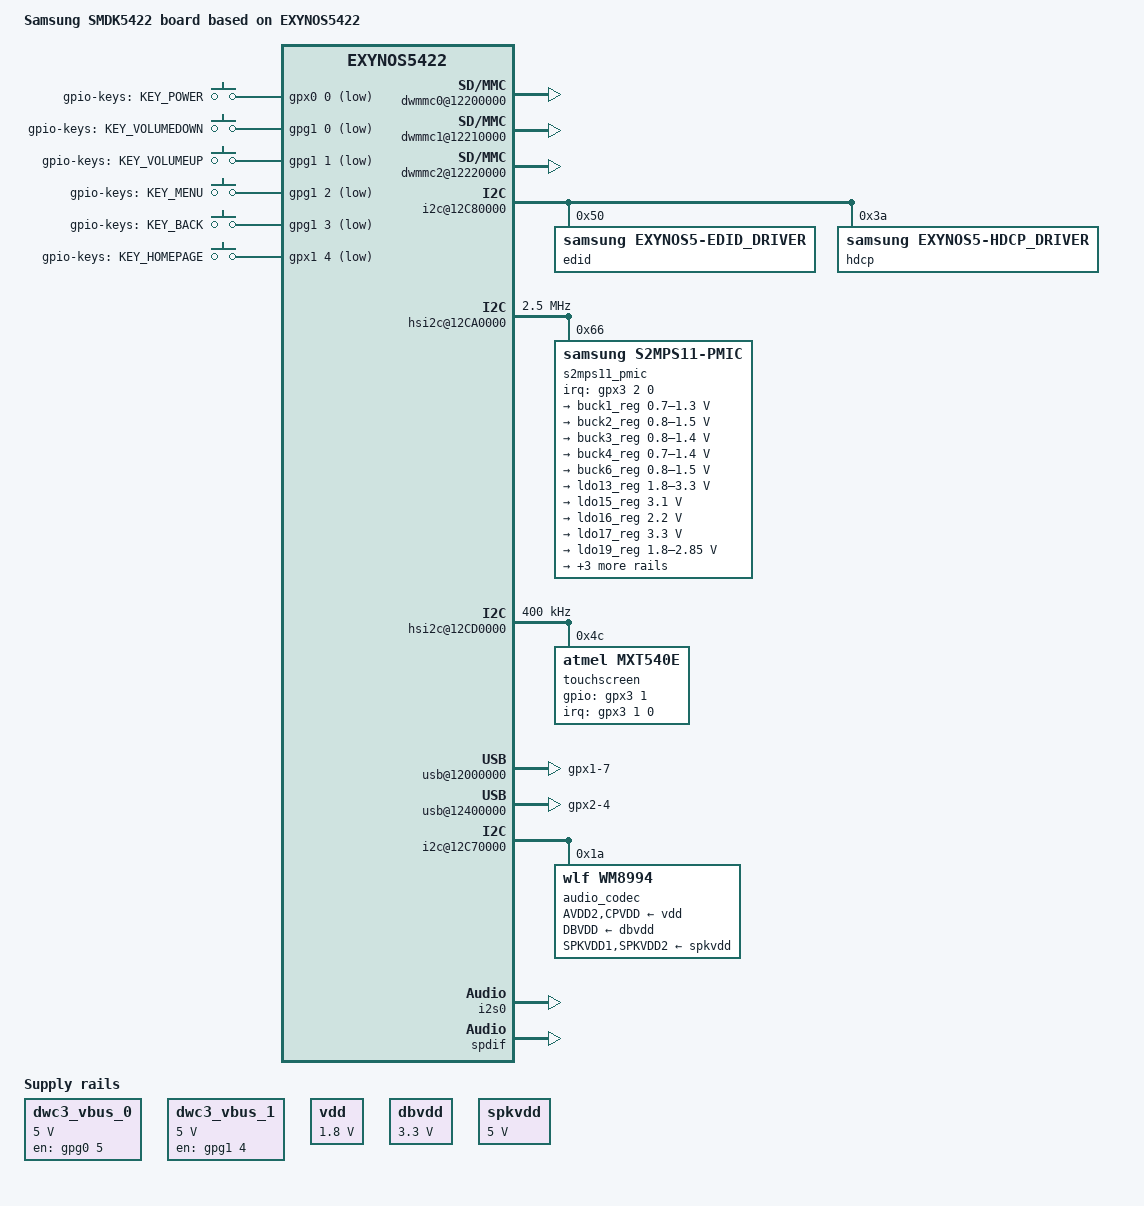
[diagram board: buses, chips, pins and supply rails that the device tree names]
/*
 * SAMSUNG SMDK5422 board device tree source
 *
 * Copyright (c) 2013 Samsung Electronics Co., Ltd.
 *             http://www.samsung.com
 *
 * This program is free software; you can redistribute it and/or modify
 * it under the terms of the GNU General Public License version 2 as
 * published by the Free Software Foundation.
*/

/dts-v1/;
#include "exynos5422.dtsi"

/ {
	model = "Samsung SMDK5422 board based on EXYNOS5422";
	compatible = "samsung,SMDK5422", "samsung,exynos5422";

	chosen {
		bootargs = "console=ttySAC2,115200 vmalloc=512M ess_setup=0x26000000 noexec=on";
	};

	fixed-rate-clocks {
		oscclk {
			compatible = "samsung,exynos5422-oscclk";
			clock-frequency = <24000000>;
		};
	};
/*disp_driver {*/
	fimd_fb: fimd_fb {
		gpios = <&gpd1 7 0xf>;
		fimd: fimd_ctrl {
			samsung,left_margin = <0x18>;
			samsung,right_margin = <0x18>;
			samsung,upper_margin = <1>;
			samsung,lower_margin = <0xD>;
			samsung,hsync_len = <0x2>;
			samsung,vsync_len = <0x2>;
			samsung,xres = <800>;
			samsung,yres = <1280>;
			samsung,virtual_x = <800>;
			samsung,virtual_y = <2560>;
			samsung,width = <71>;
			samsung,height = <114>;
			samsung,max_bpp = <32>;
			samsung,default_bpp = <24>;

			fb_driver_data {
				fb_win_variant_0 {
					has_osd_c = <1>;
					has_osd_d = <0>;
					has_osd_alpha = <0>;
					osd_size_off = <0x08>;
					palette_size = <256>;
					VALID_BPP_1248 = <1>;
					VALID_BPP_13 = <1>;
					VALID_BPP_15 = <1>;
					VALID_BPP_16 = <1>;
					VALID_BPP_18 = <1>;
					VALID_BPP_19 = <1>;
					VALID_BPP_24 = <1>;
					VALID_BPP_25 = <1>;
					VALID_BPP_32 = <1>;
				};
				fb_win_variant_1 {
					has_osd_c = <1>;
					has_osd_d = <1>;
					has_osd_alpha = <1>;
					osd_size_off = <0x0c>;
					palette_size = <256>;
					VALID_BPP_1248 = <1>;
					VALID_BPP_13 = <1>;
					VALID_BPP_15 = <1>;
					VALID_BPP_16 = <1>;
					VALID_BPP_18 = <1>;
					VALID_BPP_19 = <1>;
					VALID_BPP_24 = <1>;
					VALID_BPP_25 = <1>;
					VALID_BPP_32 = <1>;
				};
				fb_win_variant_2 {
					has_osd_c = <1>;
					has_osd_d = <1>;
					has_osd_alpha = <1>;
					osd_size_off = <0x0c>;
					palette_size = <256>;
					VALID_BPP_1248 = <1>;
					VALID_BPP_13 = <1>;
					VALID_BPP_15 = <1>;
					VALID_BPP_16 = <1>;
					VALID_BPP_18 = <1>;
					VALID_BPP_19 = <1>;
					VALID_BPP_24 = <1>;
					VALID_BPP_25 = <1>;
					VALID_BPP_32 = <1>;
				};
				fb_win_variant_3 {
					has_osd_c = <1>;
					has_osd_d = <0>;
					has_osd_alpha = <1>;
					osd_size_off = <0x0>;
					palette_size = <256>;
					VALID_BPP_1248 = <1>;
					VALID_BPP_13 = <1>;
					VALID_BPP_15 = <1>;
					VALID_BPP_16 = <1>;
					VALID_BPP_18 = <1>;
					VALID_BPP_19 = <1>;
					VALID_BPP_24 = <1>;
					VALID_BPP_25 = <1>;
					VALID_BPP_32 = <1>;
				};
				fb_win_variant_4 {
					has_osd_c = <1>;
					has_osd_d = <0>;
					has_osd_alpha = <1>;
					osd_size_off = <0x0>;
					palette_size = <256>;
					VALID_BPP_1248 = <1>;
					VALID_BPP_13 = <1>;
					VALID_BPP_15 = <1>;
					VALID_BPP_16 = <1>;
					VALID_BPP_18 = <1>;
					VALID_BPP_19 = <1>;
					VALID_BPP_24 = <1>;
					VALID_BPP_25 = <1>;
					VALID_BPP_32 = <1>;
				};
			};
		};
		mipi_dsi: mipi_dsi {
			gpios = <&gpj4 3 0x1>, <&gph0 0 0x1>;

			/* Interface definition: 0 - DSIM_COMMAND,
						 1 - DSIM_VDEO */
			e_interface = <1>;

			/* Pixel format : 0 - DSIM_CMD_3BPP,
					  1 - DSIM_CMD_8BPP,
					  2 - DSIM_CMD_12BPP,
					  3 - DSIM_CMD_16BPP,
					  4 - DSIM_VID_16BPP_565,
					  5 - DSIM_VID_18BPP_666PACKED,
					  6 - DSIM_18BPP_666LOOSELYPACKED,
					  7 - DSIM_24BPP_888 */
			e_pixel_format = <7>;

			/* main frame fifo auto flush at VSYNC pulse */
			auto_flush = <0>;
			eot_disable = <0>;
			auto_vertical_cnt = <1>;
			hse = <0>;
			hfp = <0>;
			hbp = <0>;
			hsa = <0>;

			/* num of data lane : 0 - DSIM_DATA_LANE_1,
					      1 - DSIM_DATA_LANE_2,
					      2 - DSIM_DATA_LANE_3,
					      3 - DSIM_DATA_LANE_4 */
			e_no_data_lane = <3>;
			/* byte clock divider : 0 - DSIM_PLL_OUT_DIV8,
						1 - DSIM_EXT_CLK_DIV8,
						2 - DSIM_EXT_CLK_BYPASS */
			e_byte_clk = <0>;
			/* Burst mode : 0 - DSIM_NON_BURST_SYNC_EVENT,
					2 - DSIM_NON_BURST_SYNC_PULSE,
					1 - DSIM_BURST
					4 - DSIM_NON_VIDEO_MODE */
			e_burst_mode = <1>;
			/* PMS
			   - 1. LCD_S6E8AA0 : p - 4, m - 80, s - 2
			   - 2. LCD_S6E3FA0(COMMAND): p - 2, m - 46, s - 1
			   - 3. LCD_S6E3FA0(VIDEO): p - 4, m - 75, s - 1 */
			p = <4>;
			m = <80>;
			s = <2>;
			/* D-PHY PLL stable time spec :min = 200usec ~ max 400usec */
			pll_stable_time = <500>;
			/* escape clk : 7MHz */
			esc_clk = <7000000>;
			/* stop state holding counter after bta change count 0 ~ 0xfff */
			stop_holding_cnt = <0x0fff>;
			/* bta timeout 0 ~ 0xff */
			bta_timeout = <0xff>;
			/* lp rx timeout 0 ~ 0xffff */
			rx_timeout = <0xffff>;
		};
	};

	rtc {
		status = "okay";
	};

	dwmmc0@12200000 {
		status = "okay";
		num-slots = <1>;
		broken-cd;
		bypass-smu;
		fixed_volt;
		only_once_tune;
		extra_tuning;
		supports-highspeed;
		supports-hs200-1-8v-mode;
		supports-ddr200-1-8v-mode;
		enable-cache-control;
		sw_data_timeout;
		fifo-depth = <0x40>;
		card-detect-delay = <200>;
		qos_int_level = <111000>;
		samsung,dw-mshc-ciu-div = <3>;
		samsung,dw-mshc-sdr-timing = <0 4 3>;
		samsung,dw-mshc-ddr-timing = <0 2 3>;
		samsung,dw-mshc-hs200-timing = <0 2 3>;
		samsung,dw-mshc-ddr200-timing = <0 2 1>;
		num-ref-clks = <8>;
		ciu_clkin = <20812500 41625000 41625000 83250000 166500000 83250000 166500000 333000000>;
		pinctrl-names = "default";
		pinctrl-0 = <&sd0_clk &sd0_cmd &sd0_rdqs &sd0_bus1 &sd0_bus4 &sd0_bus8>;

		slot@0 {
			reg = <0>;
			bus-width = <8>;
		};
	};

	dwmmc1@12210000 {
		status = "okay";
		num-slots = <1>;
		fixed_volt;
		only_once_tune;
		supports-highspeed;
		sw_data_timeout;
		fifo-depth = <0x40>;
		card-detect-delay = <200>;
		qos_int_level = <111000>;
		samsung,dw-mshc-ciu-div = <3>;
		samsung,dw-mshc-sdr-timing = <2 3 3>;
		samsung,dw-mshc-ddr-timing = <1 2 3>;
		num-ref-clks = <8>;
		ciu_clkin = <20812500 41625000 41625000 83250000 166500000 83250000 166500000 333000000>;
		pinctrl-names = "default";
		pinctrl-0 = <&sd1_clk &sd1_cmd &sd1_bus1 &sd1_bus4>;

		slot@0 {
			reg = <0>;
			bus-width = <4>;
		};
	};


	dwmmc2@12220000 {
		status = "okay";
		num-slots = <1>;
		supports-highspeed;
		cd-type = <1>;
		sw_data_timeout;
		fifo-depth = <0x40>;
		card-detect-delay = <200>;
		qos_int_level = <111000>;
		samsung,dw-mshc-ciu-div = <3>;
		samsung,dw-mshc-sdr-timing = <2 3 3>;
		samsung,dw-mshc-ddr-timing = <1 2 3>;
		num-ref-clks = <8>;
		ciu_clkin = <20812500 41625000 41625000 83250000 166500000 83250000 166500000 333000000>;
		pinctrl-names = "default";
		pinctrl-0 = <&sd2_clk &sd2_cmd &sd2_cd &sd2_bus1 &sd2_bus4>;

		slot@0 {
			reg = <0>;
			bus-width = <4>;
			disable-wp;
		};
	};

	pinctrl@13400000 {
		pmic_irq: pmic-irq {
			samsung,pins = "gpx3-2";
			samsung,pin-pud = <3>;
			samsung,pin-drv = <3>;
		};
	};

	i2c@12C80000 {
		status = "okay";
		/* hdmi edid dirver */
		edid@50 {
			compatible = "samsung,exynos5-edid_driver";
			reg = <0x50>;
		};

		/* hdmi hdcp dirver */
		hdcp@3A {
			compatible = "samsung,exynos5-hdcp_driver";
			reg = <0x3A>;
		};
	};

	hsi2c@12CA0000 {
		samsung,hs-mode;
		clock-frequency = <2500000>;
		status = "okay";

		s2mps11_pmic@66 {
			compatible = "samsung,s2mps11-pmic";
			reg = <0x66>;
			interrupts = <2 0 0>;
			interrupt-parent = <&gpx3>;
			pinctrl-names = "default";
			pinctrl-0 = <&pmic_irq>;
			wtsr_smpl = <1>;

			regulators {
				buck1_reg: BUCK1 {
					regulator-name = "vdd_mif";
					regulator-min-microvolt = <700000>;
					regulator-max-microvolt = <1300000>;
					regulator-always-on;
					regulator-boot-on;
					regulator-ramp-delay = <12000>;
					regulator-initial-mode = <1>;
				};

				buck2_reg: BUCK2 {
					regulator-name = "vdd_eagle";
					regulator-min-microvolt = <800000>;
					regulator-max-microvolt = <1500000>;
					regulator-always-on;
					regulator-boot-on;
					regulator-ramp-delay = <12000>;
					regulator-initial-mode = <1>;
				};

				buck3_reg: BUCK3 {
					regulator-name = "vdd_int";
					regulator-min-microvolt = <800000>;
					regulator-max-microvolt = <1400000>;
					regulator-always-on;
					regulator-boot-on;
					regulator-ramp-delay = <12000>;
					regulator-initial-mode = <1>;
				};

				buck4_reg: BUCK4 {
					regulator-name = "vdd_g3d";
					regulator-min-microvolt = <700000>;
					regulator-max-microvolt = <1400000>;
					regulator-always-on;
					regulator-boot-on;
					regulator-ramp-delay = <12000>;
					regulator-initial-mode = <1>;
				};

				buck6_reg: BUCK6 {
					regulator-name = "vdd_kfc";
					regulator-min-microvolt = <800000>;
					regulator-max-microvolt = <1500000>;
					regulator-always-on;
					regulator-boot-on;
					regulator-ramp-delay = <12000>;
					regulator-initial-mode = <1>;
				};

				ldo13_reg: LDO13 {
					regulator-name = "vqmmc";
					regulator-min-microvolt = <1800000>;
					regulator-max-microvolt = <3300000>;
					regulator-always-on;
					regulator-initial-mode = <1>;
				};

				ldo15_reg: LDO15 {
					regulator-name = "vdd_ldo15";
					regulator-min-microvolt = <3100000>;
					regulator-max-microvolt = <3100000>;
					regulator-always-on;
					regulator-initial-mode = <1>;
				};

				ldo16_reg: LDO16 {
					regulator-name = "vdd_ldo16";
					regulator-min-microvolt = <2200000>;
					regulator-max-microvolt = <2200000>;
					regulator-always-on;
					regulator-initial-mode = <1>;
				};

				ldo17_reg: LDO17 {
					regulator-name = "vdd_ldo17";
					regulator-min-microvolt = <3300000>;
					regulator-max-microvolt = <3300000>;
					regulator-always-on;
					regulator-initial-mode = <1>;
				};

				ldo19_reg: LDO19 {
					regulator-name = "vmmc";
					regulator-min-microvolt = <1800000>;
					regulator-max-microvolt = <2850000>;
					regulator-always-on;
					regulator-initial-mode = <1>;
				};

				ldo23_reg: LDO23 {
					regulator-name = "vdd_mifs";
					regulator-min-microvolt = <800000>;
					regulator-max-microvolt = <1100000>;
					regulator-always-on;
					regulator-initial-mode = <1>;
				};

				ldo24_reg: LDO24 {
					regulator-name = "vdd_ldo24";
					regulator-min-microvolt = <2800000>;
					regulator-max-microvolt = <2800000>;
					regulator-always-on;
					regulator-initial-mode = <1>;
				};

				ldo27_reg: LDO27 {
					regulator-name = "vdd_g3ds";
					regulator-min-microvolt = <800000>;
					regulator-max-microvolt = <1100000>;
					regulator-always-on;
					regulator-initial-mode = <1>;
				};
			};
		};
	};

	pinctrl@13400000 {
		tsp_on: tsp-on {
			samsung,pins = "gpx3-1";
			samsung,pin-function = <0xf>;
			samsung,pin-pud = <0>;
		};
		tsp_off: tsp-off {
			samsung,pins = "gpx3-1";
			samsung,pin-function = <0x0>;
			samsung,pin-pud = <1>;
		};
	};

	hsi2c@12CD0000 {
		clock-frequency = <400000>;
		status = "okay";
		touchscreen@20 {
			compatible = "atmel,mxt540e";
			reg = <0x4c>;
			pinctrl-names = "tsp_on", "tsp_off";
			pinctrl-0 = <&tsp_on>;
			pinctrl-1 = <&tsp_off>;
			interrupts = <1 0 0>;
			interrupt-parent = <&gpx3>;
			gpios = <&gpx3 1 0>;
			max_finger_touches = <10>;
			min_x = <0>;
			max_x = <799>;
			min_y = <0>;
			max_y = <1279>;
			min_z = <0>;
			max_z = <255>;
			min_w = <0>;
			max_w = <30>;
		};
	};

	pinctrl@13400000 {
		id0_irq: id0-irq {
			samsung,pins = "gpx1-7";
			samsung,pin-function = <0xf>;
			samsung,pin-pud = <0>;
		};

		id1_irq: id1-irq {
			samsung,pins = "gpx2-4";
			samsung,pin-function = <0xf>;
			samsung,pin-pud = <0>;
		};

		id2_irq: id2-irq {
			samsung,pins = "gpx1-6";
			samsung,pin-function = <0xf>;
			samsung,pin-pud = <0>;
		};
	};

	dwc3_vbus_0: fixedregulator@0 {
		compatible = "regulator-fixed";
		regulator-name = "VBUS0";
		regulator-min-microvolt = <5000000>;
		regulator-max-microvolt = <5000000>;
		gpio = <&gpg0 5 1>;
		enable-active-high;
	};

	dwc3_vbus_1: fixedregulator@1 {
		compatible = "regulator-fixed";
		regulator-name = "VBUS1";
		regulator-min-microvolt = <5000000>;
		regulator-max-microvolt = <5000000>;
		gpio = <&gpg1 4 1>;
		enable-active-high;
		regulator-boot-on;
	};

	usb@12000000 {
		dwc3-vbus-supply = <&dwc3_vbus_0>;
		samsung,bsess-gpio = <&gpx0 6 0xf>;
		samsung,id-gpio = <&gpx1 7 0xf>;
		pinctrl-names = "default";
		pinctrl-0 = <&id0_irq>;
		status = "okay";

		dwc3 {
			maximum-speed = "super-speed";
			dr_mode = "otg";
		};
	};

	usb@12400000 {
		dwc3-vbus-supply = <&dwc3_vbus_1>;
		samsung,id-gpio = <&gpx2 4 0xf>;
		pinctrl-names = "default";
		pinctrl-0 = <&id1_irq>;
		status = "okay";

		dwc3 {
			maximum-speed = "super-speed";
			dr_mode = "otg";
		};
	};

	usb-switch {
		samsung,id-gpio = <&gpx1 6  0xf>;
		pinctrl-names = "default";
		pinctrl-0 = <&id2_irq>;
	};

	pinctrl@13400000 {
		gpx1_pullup: gpx1_pullup_for_gpio_key {
			samsung,pins = "gpx1-4";
			samsung,pin-function = <0xf>;
			samsung,pin-pud = <3>;
			samsung,pin-drv = <0>;
		};
	};

	pinctrl@14000000 {
		gpg1_pull_down: gpg1_pull_down_for_gpio_key {
			samsung,pins = "gpg1-5";
			samsung,pin-function = <1>;
			samsung,pin-pud = <1>;
			samsung,pin-drv = <0>;
		};

		gpg1_pull_up: gpg1_pull_up_for_gpio_key {
			samsung,pins = "gpg1-0", "gpg1-1","gpg1-2","gpg1-3";
			samsung,pin-function = <0xf>;
			samsung,pin-pud = <3>;
			samsung,pin-drv = <0>;
		};

	};
	gpio_keys {
		compatible = "gpio-keys";
		#address-cells = <1>;
		#size-cells = <0>;
		poll-interval = <100>;
		pinctrl-names = "default";
		pinctrl-0 = <&gpg1_pull_down &gpg1_pull_up &gpx1_pullup>;
		button@1 {
			label = "gpio-keys: KEY_POWER";
			linux,code = <116>;
			gpios = <&gpx0 0 0xf>;
			gpio-key,wakeup = <1>;
		};
		button@2 {
			label = "gpio-keys: KEY_VOLUMEDOWN";
			linux,code = <114>;
			gpios = <&gpg1 0 0xf>;
		};
		button@3 {
			label = "gpio-keys: KEY_VOLUMEUP";
			linux,code = <115>;
			gpios = <&gpg1 1 0xf>;
		};
		button@4 {
			label = "gpio-keys: KEY_MENU";
			linux,code = <139>;
			gpios = <&gpg1 2 0xf>;
		};
		button@5 {
			label = "gpio-keys: KEY_BACK";
			linux,code = <158>;
			gpios = <&gpg1 3 0xf>;
		};
		button@6 {
			label = "gpio-keys: KEY_HOMEPAGE";
			linux,code = <172>;
			gpios = <&gpx1 4 0xf>;
		};

	};

	vdd:fixed-regulator@0 {
		compatible = "regulator-fixed";
		regulator-name = "vdd-supply";
		regulator-min-microvolt = <1800000>;
		regulator-max-microvolt = <1800000>;
		regulator-always-on;
	};

	dbvdd:fixed-regulator@1 {
		compatible = "regulator-fixed";
		regulator-name = "dbvdd-supply";
		regulator-min-microvolt = <3300000>;
		regulator-max-microvolt = <3300000>;
		regulator-always-on;
	};

	spkvdd:fixed-regulator@2 {
		compatible = "regulator-fixed";
		regulator-name = "spkvdd-supply";
		regulator-min-microvolt = <5000000>;
		regulator-max-microvolt = <5000000>;
		regulator-always-on;
	};

	i2c@12C70000 {
		samsung,i2c-sda-delay = <100>;
		samsung,i2c-max-bus-freq = <100000>;
		status = "okay";
		audio_codec: codec@1a {
			compatible = "wlf,wm8994";
			reg = <0x1a>;

			gpio-controller;
			#gpio-cells = <2>;

			AVDD2-supply = <&vdd>;
			CPVDD-supply = <&vdd>;
			DBVDD-supply = <&dbvdd>;
			SPKVDD1-supply = <&spkvdd>;
			SPKVDD2-supply = <&spkvdd>;
		};
	};

	i2s0: i2s@03830000 {
		status = "okay";
	};

	spdif: spdif@12DB0000 {
		status = "okay";
	};

	audio_codec_dummy: dummy-codec {
		compatible = "samsung,dummy-codec";
		status = "okay";
	};

	sound {
		compatible = "samsung,smdk-wm8994";
		samsung,audio-cpu = <&i2s0		/* primary */
				     &i2s0>;		/* secondary */
		samsung,audio-cpu-spdif = <&spdif>;	/* spdif */
		samsung,audio-codec = <&audio_codec
				       &audio_codec
				       &audio_codec_dummy
				       &audio_codec_dummy>;
		status = "okay";
	};

	ion {
		compatible = "samsung,exynos5430-ion";

		contig-names = "common",
			       "mfc_sh",
			       "g2d_wfd",
			       "video",
			       "mfc_input",
			       "sectbl",
			       "mfc_fw",
			       "mfc_nfw";

		contig = <0 0x2000000 0x0>,
		         <2 0x400000 0x0>,
		         <10 0x800000 0x0>,
		         <11 0x6000000 0x0>,
		         <7 0x1000000 0x0>,
		         <9 0x400000 0x0>,
		         <8 0x400000 0x0>,
		         <12 0x400000 0x0>;

		ion_noncontig_heap {
			id-type = <0 0>;
		};

		exynos_contig_heap {
			id-type = <4 6>;
		};
	};
};
